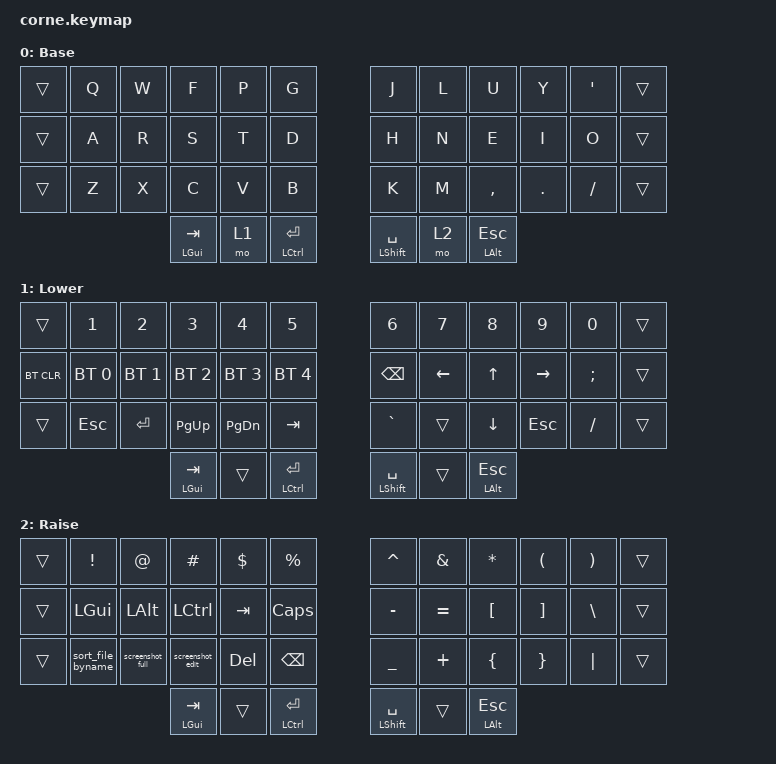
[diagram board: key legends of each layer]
/*
 * Copyright (c) 2020 The ZMK Contributors
 *
 * SPDX-License-Identifier: MIT
 */

#include <behaviors.dtsi>
#include <dt-bindings/zmk/bt.h>
#include <dt-bindings/zmk/keys.h>

/ {
    macros {
        sort_file_byname: sort_file_byname {
            compatible = "zmk,behavior-macro";
            #binding-cells = <0>;
            bindings
                = <&macro_press &kp LEFT_ALT>
                , <&macro_press &kp LGUI>
                , <&macro_tap &kp NUMBER_1>
                //, <&macro_release &kp LSHFT>
                ;
            label = "SORT_FILE_BYNAME";
        };
        screenshot_full: screenshot_full {
            compatible = "zmk,behavior-macro";
            #binding-cells = <0>;
            bindings
                = <&macro_press &kp LGUI>
                , <&macro_press &kp LSHIFT>
                , <&macro_tap &kp NUMBER_3>
                ;
            label = "SCREENSHOT_FULL";
        };
        screenshot_edit: screenshot_edit {
            compatible = "zmk,behavior-macro";
            #binding-cells = <0>;
            bindings
                = <&macro_press &kp LGUI>
                , <&macro_press &kp LSHIFT>
                , <&macro_tap &kp NUMBER_4>
                ;
            label = "SCREENSHOT_EDIT";
        };
    };

    keymap {
        compatible = "zmk,keymap";

        default_layer {
            // -----------------------------------------------------------------------------------------
            // | Q  |  W  |  F  |  P  |  G  |   |  J  |  L   |  U  |  Y  |  '  |
            // | A  |  R  |  S  |  T  |  D  |   |  H  |  N   |  E  |  I  |  O  |
            // | Z  |  X  |  C  |  V  |  B  |   |  K  |  M   |  ,  |  .  |  /  |
            // | MT(LGUI,TAB) | LWR | MT(LCT,ENT) |   | MT(LSFT,SPC) | RSE  | MT(LALT,ESC) |

            label = "Base";
            bindings = <
&trans  &kp Q  &kp W  &kp F         &kp P  &kp G              &kp J             &kp L  &kp U         &kp Y    &kp SINGLE_QUOTE  &trans
&trans  &kp A  &kp R  &kp S         &kp T  &kp D              &kp H             &kp N  &kp E         &kp I    &kp O             &trans
&trans  &kp Z  &kp X  &kp C         &kp V  &kp B              &kp K             &kp M  &kp COMMA     &kp DOT  &kp FSLH          &trans
                      &mt LGUI TAB  &mo 1  &mt LCTRL ENTER    &mt LSHIFT SPACE  &mo 2  &mt LALT ESC
            >;
        };

        lower_layer {
            // -----------------------------------------------------------------------------------------
            // |  1  |  2  |  3  |  4  |  5  |   |  6  |  7  |  8  |  9  |  0  |
            // | BTCLR| BT1 | BT2 | BT3 | BT4 | BT5 |   | BKSP | LFT |  UP | RGT |     |
            // |     |     |     |     |     |   |     |  TILDE   |  DOWN   |     |     |
            // | MT(LGUI,TAB) | LWR | MT(LCT,ENT) |   | MT(LSFT,SPC) | RSE  | MT(LALT,ESC) |

            label = "Lower";
            bindings = <
&trans      &kp N1        &kp N2        &kp N3        &kp N4         &kp N5             &kp N6            &kp N7    &kp N8            &kp N9     &kp N0         &trans
&bt BT_CLR  &bt BT_SEL 0  &bt BT_SEL 1  &bt BT_SEL 2  &bt BT_SEL 3   &bt BT_SEL 4       &kp BACKSPACE     &kp LEFT  &kp UP            &kp RIGHT  &kp SEMICOLON  &trans
&trans      &kp ESC       &kp ENTER     &kp PAGE_UP   &kp PAGE_DOWN  &kp TAB            &kp GRAVE         &trans    &kp DOWN          &kp ESC    &kp SLASH      &trans
                                        &mt LGUI TAB  &trans         &mt LCTRL ENTER    &mt LSHIFT SPACE  &trans    &mt LEFT_ALT ESC
            >;
        };

        raise_layer {
            // -----------------------------------------------------------------------------------------
            // |  !  |  @  |  #  |  $  |  %  |   |  ^  |  &  |  *  |  (  |  )  |
            // |     |     |     |     |     |   |  -  |  =  |  [  |  ]  |  \  |
            // |     |     |     |     |     |   |  _  |  +  |  {  |  }  | "|" |
            // | MT(LGUI,TAB) | LWR | MT(LCT,ENT) |   | MT(LSFT,SPC) | RSE  | MT(LALT,ESC) |

            label = "Raise";
            bindings = <
&trans  &kp EXCL  &kp AT    &kp HASH      &kp DLLR    &kp PRCNT          &kp CARET         &kp AMPS   &kp STAR      &kp LPAR  &kp RPAR  &trans
&trans  &kp LGUI  &kp LALT  &kp LCTRL     &kp TAB     &kp CAPSLOCK       &kp MINUS         &kp EQUAL  &kp LBKT      &kp RBKT  &kp BSLH  &trans
&trans  &sort_file_byname    &screenshot_full    &screenshot_edit        &kp DELETE  &kp BACKSPACE      &kp UNDER         &kp PLUS   &kp LBRC      &kp RBRC  &kp PIPE  &trans
                            &mt LGUI TAB  &trans      &mt LCTRL ENTER    &mt LSHIFT SPACE  &trans     &mt LALT ESC
            >;
        };
    };
};
